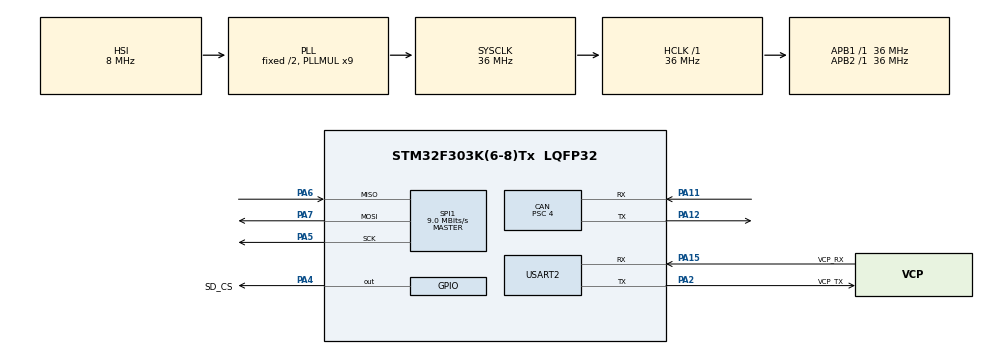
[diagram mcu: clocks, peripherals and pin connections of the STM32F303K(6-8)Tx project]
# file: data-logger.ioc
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CAN.BS1=CAN_BS1_7TQ
CAN.CalculateTimeQuantum=111.11111111111111
CAN.Prescaler=4
Mcu.Family=STM32F3
Mcu.Name=STM32F303K(6-8)Tx
Mcu.Package=LQFP32
NVIC.PriorityGroup=NVIC_PRIORITYGROUP_4
PA11.Mode=Master
PA11.Signal=CAN_RX
PA12.Mode=Master
PA12.Signal=CAN_TX
PA13.GPIO_Label=SWDIO
PA13.Mode=Serial_Wire
PA13.Signal=SYS_JTMS-SWDIO
PA14.GPIO_Label=SWCLK
PA14.Mode=Serial_Wire
PA14.Signal=SYS_JTCK-SWCLK
PA15.GPIO_Label=VCP_RX
PA15.Mode=Asynchronous
PA15.Signal=USART2_RX
PA2.GPIO_Label=VCP_TX
PA2.Mode=Asynchronous
PA2.Signal=USART2_TX
PA4.GPIO_Label=SD_CS
PA4.GPIO_ModeDefaultOutputPP=GPIO_MODE_OUTPUT_PP
PA4.GPIO_PuPd=GPIO_PULLUP
PA4.GPIO_Speed=GPIO_SPEED_FREQ_HIGH
PA4.PinState=GPIO_PIN_RESET
PA4.Signal=GPIO_Output
PA5.GPIO_PuPd=GPIO_PULLUP
PA5.Mode=Full_Duplex_Master
PA5.Signal=SPI1_SCK
PA6.GPIO_PuPd=GPIO_PULLUP
PA6.Mode=Full_Duplex_Master
PA6.Signal=SPI1_MISO
PA7.GPIO_PuPd=GPIO_PULLUP
PA7.Mode=Full_Duplex_Master
PA7.Signal=SPI1_MOSI
PF0\ /\ OSC_IN.GPIO_Label=MCO
PF0\ /\ OSC_IN.Mode=HSE-External-Clock-Source
PF0\ /\ OSC_IN.Signal=RCC_OSC_IN
ProjectManager.HeapSize=0x200
ProjectManager.StackSize=0x400
ProjectManager.TargetToolchain=SW4STM32
RCC.AHBFreq_Value=36000000
RCC.APB1Freq_Value=36000000
RCC.APB1TimFreq_Value=36000000
RCC.APB2Freq_Value=36000000
RCC.APB2TimFreq_Value=36000000
RCC.CortexFreq_Value=36000000
RCC.HCLKFreq_Value=36000000
RCC.HSE_VALUE=8000000
RCC.HSI_VALUE=8000000
RCC.PLLMUL=RCC_PLL_MUL9
RCC.SYSCLKFreq_VALUE=36000000
RCC.SYSCLKSourceVirtual=RCC_SYSCLKSOURCE_PLLCLK
SPI1.BaudRatePrescaler=SPI_BAUDRATEPRESCALER_4
SPI1.CLKPhase=SPI_PHASE_2EDGE
SPI1.CLKPolarity=SPI_POLARITY_HIGH
SPI1.CalculateBaudRate=9.0 MBits/s
SPI1.DataSize=SPI_DATASIZE_8BIT
SPI1.Direction=SPI_DIRECTION_2LINES
SPI1.Mode=SPI_MODE_MASTER
SPI1.VirtualType=VM_MASTER
USART2.VirtualMode-Asynchronous=VM_ASYNC
VP_FATFS_VS_Generic.Mode=User_defined
board=NUCLEO-F303K8

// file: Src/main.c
/**
  ******************************************************************************
  * @file           : main.c
  * @brief          : Main program body
  ******************************************************************************
  * This notice applies to any and all portions of this file
  * that are not between comment pairs USER CODE BEGIN and
  * USER CODE END. Other portions of this file, whether
  * inserted by the user or by software development tools
  * are owned by their respective copyright owners.
  *
  * Copyright (c) 2018 STMicroelectronics International N.V.
  * All rights reserved.
  *
  * Redistribution and use in source and binary forms, with or without
  * modification, are permitted, provided that the following conditions are met:
  *
  * 1. Redistribution of source code must retain the above copyright notice,
  *    this list of conditions and the following disclaimer.
  * 2. Redistributions in binary form must reproduce the above copyright notice,
  *    this list of conditions and the following disclaimer in the documentation
  *    and/or other materials provided with the distribution.
  * 3. Neither the name of STMicroelectronics nor the names of other
  *    contributors to this software may be used to endorse or promote products
  *    derived from this software without specific written permission.
  * 4. This software, including modifications and/or derivative works of this
  *    software, must execute solely and exclusively on microcontroller or
  *    microprocessor devices manufactured by or for STMicroelectronics.
  * 5. Redistribution and use of this software other than as permitted under
  *    this license is void and will automatically terminate your rights under
  *    this license.
  *
  * THIS SOFTWARE IS PROVIDED BY STMICROELECTRONICS AND CONTRIBUTORS "AS IS"
  * AND ANY EXPRESS, IMPLIED OR STATUTORY WARRANTIES, INCLUDING, BUT NOT
  * LIMITED TO, THE IMPLIED WARRANTIES OF MERCHANTABILITY, FITNESS FOR A
  * PARTICULAR PURPOSE AND NON-INFRINGEMENT OF THIRD PARTY INTELLECTUAL PROPERTY
  * RIGHTS ARE DISCLAIMED TO THE FULLEST EXTENT PERMITTED BY LAW. IN NO EVENT
  * SHALL STMICROELECTRONICS OR CONTRIBUTORS BE LIABLE FOR ANY DIRECT, INDIRECT,
  * INCIDENTAL, SPECIAL, EXEMPLARY, OR CONSEQUENTIAL DAMAGES (INCLUDING, BUT NOT
  * LIMITED TO, PROCUREMENT OF SUBSTITUTE GOODS OR SERVICES; LOSS OF USE, DATA,
  * OR PROFITS; OR BUSINESS INTERRUPTION) HOWEVER CAUSED AND ON ANY THEORY OF
  * LIABILITY, WHETHER IN CONTRACT, STRICT LIABILITY, OR TORT (INCLUDING
  * NEGLIGENCE OR OTHERWISE) ARISING IN ANY WAY OUT OF THE USE OF THIS SOFTWARE,
  * EVEN IF ADVISED OF THE POSSIBILITY OF SUCH DAMAGE.
  *
  ******************************************************************************
  */
#include "main.h"
#include "stm32f3xx_hal.h"
#include "can.h"
#include "fatfs.h"
#include "spi.h"
#include "usart.h"
#include "gpio.h"

/* USER CODE BEGIN PV */
/* Private variables ---------------------------------------------------------*/
FATFS SDFatFs;  /* File system object for SD card logical drive */
FIL MyFile;     /* File object */
char SDPath[4]; /* SD card logical drive path */

/* USER CODE END PV */

void SystemClock_Config(void);

/* USER CODE BEGIN PFP */
/* Private function prototypes -----------------------------------------------*/
void SystemClock_Config(void);
extern void initialise_monitor_handles(void);

/* USER CODE END PFP */

int main(void)
{

  /* MCU Configuration----------------------------------------------------------*/

  /* Reset of all peripherals, Initializes the Flash interface and the Systick. */
  HAL_Init();

  /* Configure the system clock */
  SystemClock_Config();

  /* Initialize all configured peripherals */
  MX_GPIO_Init();
  MX_USART2_UART_Init();
  MX_SPI1_Init();
  MX_FATFS_Init();
  MX_CAN_Init();
  /* USER CODE BEGIN 2 */
	initialise_monitor_handles();

	FRESULT res;                                          /* FatFs function common result code */
	uint32_t byteswritten, bytesread;                     /* File write/read counts */
	uint8_t wtext[] = "This is STM32 working with FatFs"; /* File write buffer */
	uint8_t rtext[100];                                   /* File read buffer */

	printf("link ok\n");
	/*##-2- Register the file system object to the FatFs module ##############*/
	if(f_mount(&SDFatFs, (TCHAR const*)SDPath, 0) != FR_OK)
	{
		/* FatFs Initialization Error */
		Error_Handler();
	}
	else
	{
		printf("mount ok\n");

		/*##-3- Create a FAT file system (format) on the logical drive #########*/
		/* WARNING: Formatting the uSD card will delete all content on the device */
		res = f_mkfs((TCHAR const*)SDPath, 0, 0);
		if(res != FR_OK){
			printf("%x\n",res);
			/* FatFs Format Error */
			Error_Handler();
		}
		else
		{
			printf("format ok\n");

			/*##-4- Create and Open a new text file object with write access #####*/
			if(f_open(&MyFile, "STM32.TXT", FA_CREATE_ALWAYS | FA_WRITE) != FR_OK)
			{
				/* 'STM32.TXT' file Open for write Error */
				Error_Handler();
			}
			else
			{
				printf("create and open ok\n");

				/*##-5- Write data to the text file ################################*/
				res = f_write(&MyFile, wtext, sizeof(wtext), (void *)&byteswritten);

				/*##-6- Close the open text file #################################*/
				if (f_close(&MyFile) != FR_OK )
				{
					Error_Handler();
				}
				printf("close ok\n");

				if((byteswritten == 0) || (res != FR_OK))
				{
					/* 'STM32.TXT' file Write or EOF Error */
					Error_Handler();
				}
				else
				{
					/*##-7- Open the text file object with read access ###############*/
					if(f_open(&MyFile, "STM32.TXT", FA_READ) != FR_OK)
					{
						/* 'STM32.TXT' file Open for read Error */
						Error_Handler();
					}
					else
					{
						/*##-8- Read data from the text file ###########################*/
						res = f_read(&MyFile, rtext, sizeof(rtext), (UINT*)&bytesread);

						if((bytesread == 0) || (res != FR_OK))
						{
							/* 'STM32.TXT' file Read or EOF Error */
							Error_Handler();
						}
						else
						{
							/*##-9- Close the open text file #############################*/
							f_close(&MyFile);

							/*##-10- Compare read data with the expected data ############*/
							if((bytesread != byteswritten))
							{
								/* Read data is different from the expected data */
								Error_Handler();
							}
							else
							{
								/* Success of the demo: no error occurrence */
							}
						}
					}
				}
			}
		}
	}

  /* USER CODE END 2 */

  /* Infinite loop */
	while (1)
	{

	}

}

void SystemClock_Config(void)
{

  RCC_OscInitTypeDef RCC_OscInitStruct;
  RCC_ClkInitTypeDef RCC_ClkInitStruct;

    /**Initializes the CPU, AHB and APB busses clocks
    */
  RCC_OscInitStruct.OscillatorType = RCC_OSCILLATORTYPE_HSI;
  RCC_OscInitStruct.HSIState = RCC_HSI_ON;
  RCC_OscInitStruct.HSICalibrationValue = 16;
  RCC_OscInitStruct.PLL.PLLState = RCC_PLL_ON;
  RCC_OscInitStruct.PLL.PLLSource = RCC_PLLSOURCE_HSI;
  RCC_OscInitStruct.PLL.PLLMUL = RCC_PLL_MUL9;
  if (HAL_RCC_OscConfig(&RCC_OscInitStruct) != HAL_OK)
  {
    _Error_Handler(__FILE__, __LINE__);
  }

    /**Initializes the CPU, AHB and APB busses clocks
    */
  RCC_ClkInitStruct.ClockType = RCC_CLOCKTYPE_HCLK|RCC_CLOCKTYPE_SYSCLK
                              |RCC_CLOCKTYPE_PCLK1|RCC_CLOCKTYPE_PCLK2;
  RCC_ClkInitStruct.SYSCLKSource = RCC_SYSCLKSOURCE_PLLCLK;
  RCC_ClkInitStruct.AHBCLKDivider = RCC_SYSCLK_DIV1;
  RCC_ClkInitStruct.APB1CLKDivider = RCC_HCLK_DIV1;
  RCC_ClkInitStruct.APB2CLKDivider = RCC_HCLK_DIV1;

  if (HAL_RCC_ClockConfig(&RCC_ClkInitStruct, FLASH_LATENCY_1) != HAL_OK)
  {
    _Error_Handler(__FILE__, __LINE__);
  }

    /**Configure the Systick interrupt time
    */
  HAL_SYSTICK_Config(HAL_RCC_GetHCLKFreq()/1000);

    /**Configure the Systick
    */
  HAL_SYSTICK_CLKSourceConfig(SYSTICK_CLKSOURCE_HCLK);

  /* SysTick_IRQn interrupt configuration */
  HAL_NVIC_SetPriority(SysTick_IRQn, 0, 0);
}

void _Error_Handler(char *file, int line)
{
	while(1)
	{
	}
}

/************************ (C) COPYRIGHT STMicroelectronics *****END OF FILE****/
